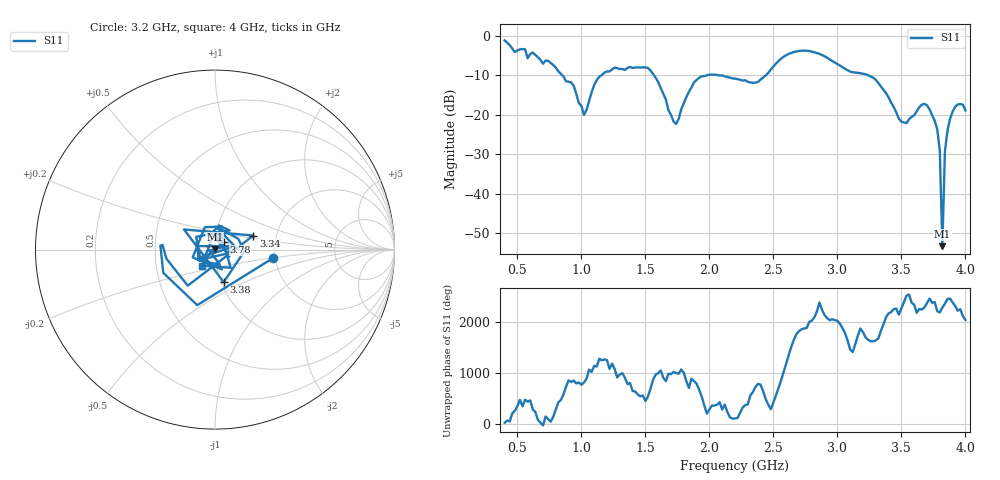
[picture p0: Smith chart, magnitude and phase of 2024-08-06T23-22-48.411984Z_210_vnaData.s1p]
!Created with skrf (http://scikit-rf.org).
# Hz S RI R 50.0
!freq ReS11 ImS11
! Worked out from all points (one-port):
!   181 points, 400 MHz to 4 GHz, reference 50 ohm
!   lowest |S11| = -53.3 dB at 3.82 GHz (marker M1), VSWR 1.00, Z = 49.9 + j0.198 ohm
!   |S11| at or under -10 dB: 1.567 GHz to 1.984 GHz (417.5 MHz wide, 23.5 % of centre); 2.066 GHz to 2.442 GHz (375.9 MHz wide, 16.7 % of centre); 3.239 GHz to end of sweep (the widest 3 of 4)
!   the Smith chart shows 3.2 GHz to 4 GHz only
!   S11 on the Smith chart (normalised r, x): 3.2 GHz: 1.95, -0.20; 3.34 GHz: 1.52, +0.25; 3.38 GHz: 1.03, -0.39; 3.78 GHz: 1.10, +0.10; 4 GHz: 0.86, -0.16
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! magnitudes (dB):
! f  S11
! 400 MHz  -1.2
! 860 MHz  -10.3
! 940 MHz  -12.7
! 1.02 GHz  -20.1
! 1.14 GHz  -10.4
! 1.3 GHz  -8.4
! 1.52 GHz  -8.2
! 1.6 GHz  -11.8
! 1.72 GHz  -21.7
! 1.76 GHz  -21.1
! 1.92 GHz  -10.6
! 2.2 GHz  -10.9
! 2.38 GHz  -11.7
! 2.66 GHz  -4.1
! 3.1 GHz  -9.1
! 3.2 GHz  -9.7
! 3.34 GHz  -12.9
! 3.38 GHz  -14.5
! 3.5 GHz  -21.8
! 3.56 GHz  -21.2
! 3.68 GHz  -17.2
! 3.78 GHz  -23.7
! 3.8 GHz  -29.1
! 3.82 GHz  -53.3
! 3.84 GHz  -29.3
! 3.86 GHz  -24.1
! 3.92 GHz  -18.0
! 4 GHz  -18.9
